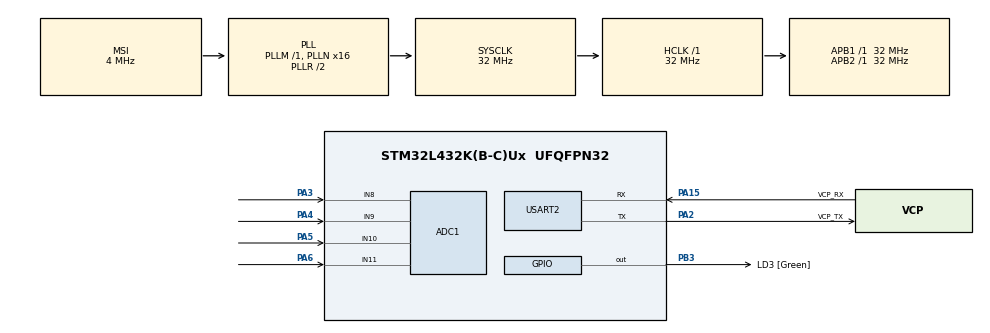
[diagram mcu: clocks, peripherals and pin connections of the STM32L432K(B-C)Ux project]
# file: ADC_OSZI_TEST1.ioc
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ADC1.Channel-2\#ChannelRegularConversion=ADC_CHANNEL_8
ADC1.Channel-3\#ChannelRegularConversion=ADC_CHANNEL_9
ADC1.Channel-4\#ChannelRegularConversion=ADC_CHANNEL_10
ADC1.Channel-5\#ChannelRegularConversion=ADC_CHANNEL_11
ADC1.ContinuousConvMode=ENABLE
ADC1.DMAContinuousRequests=ENABLE
ADC1.EOCSelection=ADC_EOC_SEQ_CONV
ADC1.NbrOfConversion=4
ADC1.NbrOfConversionFlag=1
ADC1.OffsetNumber-2\#ChannelRegularConversion=ADC_OFFSET_NONE
ADC1.OffsetNumber-3\#ChannelRegularConversion=ADC_OFFSET_NONE
ADC1.OffsetNumber-4\#ChannelRegularConversion=ADC_OFFSET_NONE
ADC1.OffsetNumber-5\#ChannelRegularConversion=ADC_OFFSET_NONE
ADC1.Overrun=ADC_OVR_DATA_OVERWRITTEN
ADC1.Rank-2\#ChannelRegularConversion=1
ADC1.Rank-3\#ChannelRegularConversion=2
ADC1.Rank-4\#ChannelRegularConversion=3
ADC1.Rank-5\#ChannelRegularConversion=4
ADC1.SamplingTime-2\#ChannelRegularConversion=ADC_SAMPLETIME_247CYCLES_5
ADC1.SamplingTime-3\#ChannelRegularConversion=ADC_SAMPLETIME_247CYCLES_5
ADC1.SamplingTime-4\#ChannelRegularConversion=ADC_SAMPLETIME_247CYCLES_5
ADC1.SamplingTime-5\#ChannelRegularConversion=ADC_SAMPLETIME_247CYCLES_5
ADC1.master=1
Dma.ADC1.0.Direction=DMA_PERIPH_TO_MEMORY
Dma.ADC1.0.Instance=DMA1_Channel1
Dma.ADC1.0.MemDataAlignment=DMA_MDATAALIGN_HALFWORD
Dma.ADC1.0.MemInc=DMA_MINC_ENABLE
Dma.ADC1.0.Mode=DMA_CIRCULAR
Dma.ADC1.0.PeriphDataAlignment=DMA_PDATAALIGN_HALFWORD
Dma.ADC1.0.PeriphInc=DMA_PINC_DISABLE
Dma.ADC1.0.Priority=DMA_PRIORITY_HIGH
Dma.Request0=ADC1
Mcu.Family=STM32L4
Mcu.Name=STM32L432K(B-C)Ux
Mcu.Package=UFQFPN32
NVIC.DMA1_Channel1_IRQn=true\:0\:0\:false\:false\:true\:false\:true\:true
NVIC.PriorityGroup=NVIC_PRIORITYGROUP_4
PA0.GPIO_Label=MCO [High speed clock in]
PA0.Mode=HSE-External-Clock-Source-for-LittleOrca
PA0.Signal=RCC_CK_IN
PA13\ (JTMS-SWDIO).GPIO_Label=SWDIO
PA13\ (JTMS-SWDIO).Mode=Serial_Wire
PA13\ (JTMS-SWDIO).Signal=SYS_JTMS-SWDIO
PA14\ (JTCK-SWCLK).GPIO_Label=SWCLK
PA14\ (JTCK-SWCLK).Mode=Serial_Wire
PA14\ (JTCK-SWCLK).Signal=SYS_JTCK-SWCLK
PA15\ (JTDI).GPIO_Label=VCP_RX
PA15\ (JTDI).Mode=Asynchronous
PA15\ (JTDI).Signal=USART2_RX
PA2.GPIO_Label=VCP_TX
PA2.Mode=Asynchronous
PA2.Signal=USART2_TX
PA3.Signal=ADCx_IN8
PA4.Signal=ADCx_IN9
PA5.Signal=ADCx_IN10
PA6.Signal=ADCx_IN11
PB3\ (JTDO-TRACESWO).GPIO_Label=LD3 [Green]
PB3\ (JTDO-TRACESWO).Signal=GPIO_Output
PC14-OSC32_IN\ (PC14).Mode=LSE-External-Oscillator
PC14-OSC32_IN\ (PC14).Signal=RCC_OSC32_IN
PC15-OSC32_OUT\ (PC15).Mode=LSE-External-Oscillator
PC15-OSC32_OUT\ (PC15).Signal=RCC_OSC32_OUT
ProjectManager.HeapSize=0x200
ProjectManager.StackSize=0x400
ProjectManager.TargetToolchain=STM32CubeIDE
RCC.ADCFreq_Value=32000000
RCC.AHBFreq_Value=32000000
RCC.APB1Freq_Value=32000000
RCC.APB1TimFreq_Value=32000000
RCC.APB2Freq_Value=32000000
RCC.APB2TimFreq_Value=32000000
RCC.CortexFreq_Value=32000000
RCC.HCLKFreq_Value=32000000
RCC.HSE_VALUE=8000000
RCC.HSI16_VALUE=16000000
RCC.HSI48_VALUE=48000000
RCC.HSI_VALUE=16000000
RCC.MSI_VALUE=4000000
RCC.PLLMUL=RCC_PLLMUL_4
RCC.PLLN=16
RCC.PLLSAI1N=16
RCC.SYSCLKFreq_VALUE=32000000
RCC.SYSCLKSource=RCC_SYSCLKSOURCE_PLLCLK
RCC.USBFreq_Value=32000000
RCC.VCOOutputFreq_Value=64000000
SH.ADCx_IN10.0=ADC1_IN10,IN10-Single-Ended
SH.ADCx_IN11.0=ADC1_IN11,IN11-Single-Ended
SH.ADCx_IN8.0=ADC1_IN8,IN8-Single-Ended
SH.ADCx_IN9.0=ADC1_IN9,IN9-Single-Ended
USART2.VirtualMode-Asynchronous=VM_ASYNC
board=NUCLEO-L432KC

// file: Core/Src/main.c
/* USER CODE BEGIN Header */
/**
  ******************************************************************************
  * @file           : main.c
  * @brief          : Main program body
  ******************************************************************************
  * @attention
  *
  * Copyright (c) 2025 STMicroelectronics.
  * All rights reserved.
  *
  * This software is licensed under terms that can be found in the LICENSE file
  * in the root directory of this software component.
  * If no LICENSE file comes with this software, it is provided AS-IS.
  *
  ******************************************************************************
  */
/* USER CODE END Header */
#include "main.h"
#include "adc.h"
#include "dma.h"
#include "usart.h"
#include "gpio.h"

/* USER CODE BEGIN PTD */
typedef enum {
    RANGE_1V,
    RANGE_10V,
    RANGE_36V
} adc_range_t;

typedef struct {
    uint8_t adc_index;     // Index im adc_buf[]
    adc_range_t range;     // Messbereich
} adc_channel_t;

/* USER CODE END PTD */

/* USER CODE BEGIN PD */
volatile uint8_t send_flag = 0;
#define ADC_UPPER_LIMIT 3800   // knapp unter 4095

/* USER CODE END PD */

/* USER CODE BEGIN PV */
adc_channel_t channels[] = {
    {0, RANGE_1V},    // adc_buf[0] = PA3
    {1, RANGE_10V},   // adc_buf[1] = PA4
    {2, RANGE_36V},   // adc_buf[2] = PA5
};

float real_voltage[3];

/* USER CODE END PV */

void SystemClock_Config(void);

/* USER CODE BEGIN 0 */
float adc_to_voltage(uint16_t raw)
{
    return raw * 3.3f / 4095.0f;
}

float apply_range(float v_adc, adc_range_t range)
{
    switch(range)
    {
        case RANGE_1V:  return v_adc * (1.0f  / 3.3f);
        case RANGE_10V: return v_adc * (10.0f / 3.3f);
        case RANGE_36V: return v_adc * (36.0f / 3.3f);
        default: return 0.0f;
    }
}

float range_max_voltage(adc_range_t range)
{
    switch (range)
    {
        case RANGE_1V:  return 1.0f;
        case RANGE_10V: return 10.0f;
        case RANGE_36V: return 36.0f;
        default: return 0.0f;
    }
}

int _write(int file, char *ptr, int len)
{
    HAL_UART_Transmit(&huart2, (uint8_t*)ptr, len, HAL_MAX_DELAY);
    return len;
}

int select_best_channel(void)
{
    for (int i = 0; i < 3; i++)
    {
        uint16_t raw = adc_buf[channels[i].adc_index];
        float v_adc = adc_to_voltage(raw);
        float v_real = apply_range(v_adc, channels[i].range);

        if (v_real <= range_max_voltage(channels[i].range))
            return i;
    }

    return 2; // Fallback: größter Range
}
/* USER CODE END 0 */

int main(void)
{

  /* MCU Configuration--------------------------------------------------------*/

  /* Reset of all peripherals, Initializes the Flash interface and the Systick. */
  HAL_Init();

  /* Configure the system clock */
  SystemClock_Config();

  /* Initialize all configured peripherals */
  MX_GPIO_Init();
  MX_DMA_Init();
  MX_USART2_UART_Init();
  MX_ADC1_Init();
  /* USER CODE BEGIN 2 */
  HAL_ADC_Start_DMA(&hadc1,
                    (uint32_t*)adc_buf,
                    ADC_BUF_LEN);

  /* USER CODE END 2 */

  /* Infinite loop */
  /* USER CODE BEGIN WHILE */
  while (1)
  {	  if (send_flag)
  {
      send_flag = 0;

      for (int i = 0; i < 3; i++)
      {
          uint16_t raw = adc_buf[channels[i].adc_index];
          float v_adc = adc_to_voltage(raw);
          real_voltage[i] = apply_range(v_adc, channels[i].range);
      }

      printf("R1V:%.3f,R10V:%.3f,R36V:%.3f\n",
             real_voltage[0],
             real_voltage[1],
             real_voltage[2]);
  }
  }

    /* USER CODE END WHILE */

  }

void SystemClock_Config(void)
{
  RCC_OscInitTypeDef RCC_OscInitStruct = {0};
  RCC_ClkInitTypeDef RCC_ClkInitStruct = {0};

  /** Configure the main internal regulator output voltage
  */
  if (HAL_PWREx_ControlVoltageScaling(PWR_REGULATOR_VOLTAGE_SCALE1) != HAL_OK)
  {
    Error_Handler();
  }

  /** Configure LSE Drive Capability
  */
  HAL_PWR_EnableBkUpAccess();
  __HAL_RCC_LSEDRIVE_CONFIG(RCC_LSEDRIVE_LOW);

  /** Initializes the RCC Oscillators according to the specified parameters
  * in the RCC_OscInitTypeDef structure.
  */
  RCC_OscInitStruct.OscillatorType = RCC_OSCILLATORTYPE_LSE|RCC_OSCILLATORTYPE_MSI;
  RCC_OscInitStruct.LSEState = RCC_LSE_ON;
  RCC_OscInitStruct.MSIState = RCC_MSI_ON;
  RCC_OscInitStruct.MSICalibrationValue = 0;
  RCC_OscInitStruct.MSIClockRange = RCC_MSIRANGE_6;
  RCC_OscInitStruct.PLL.PLLState = RCC_PLL_ON;
  RCC_OscInitStruct.PLL.PLLSource = RCC_PLLSOURCE_MSI;
  RCC_OscInitStruct.PLL.PLLM = 1;
  RCC_OscInitStruct.PLL.PLLN = 16;
  RCC_OscInitStruct.PLL.PLLP = RCC_PLLP_DIV7;
  RCC_OscInitStruct.PLL.PLLQ = RCC_PLLQ_DIV2;
  RCC_OscInitStruct.PLL.PLLR = RCC_PLLR_DIV2;
  if (HAL_RCC_OscConfig(&RCC_OscInitStruct) != HAL_OK)
  {
    Error_Handler();
  }

  /** Initializes the CPU, AHB and APB buses clocks
  */
  RCC_ClkInitStruct.ClockType = RCC_CLOCKTYPE_HCLK|RCC_CLOCKTYPE_SYSCLK
                              |RCC_CLOCKTYPE_PCLK1|RCC_CLOCKTYPE_PCLK2;
  RCC_ClkInitStruct.SYSCLKSource = RCC_SYSCLKSOURCE_PLLCLK;
  RCC_ClkInitStruct.AHBCLKDivider = RCC_SYSCLK_DIV1;
  RCC_ClkInitStruct.APB1CLKDivider = RCC_HCLK_DIV1;
  RCC_ClkInitStruct.APB2CLKDivider = RCC_HCLK_DIV1;

  if (HAL_RCC_ClockConfig(&RCC_ClkInitStruct, FLASH_LATENCY_1) != HAL_OK)
  {
    Error_Handler();
  }

  /** Enable MSI Auto calibration
  */
  HAL_RCCEx_EnableMSIPLLMode();
}

/* USER CODE BEGIN 4 */

void HAL_ADC_ConvCpltCallback(ADC_HandleTypeDef* hadc)
{
    if (hadc->Instance == ADC1)
    {
        send_flag = 1;
    }
}

/* USER CODE END 4 */

void Error_Handler(void)
{
  __disable_irq();
  while (1)
  {
  }
}
